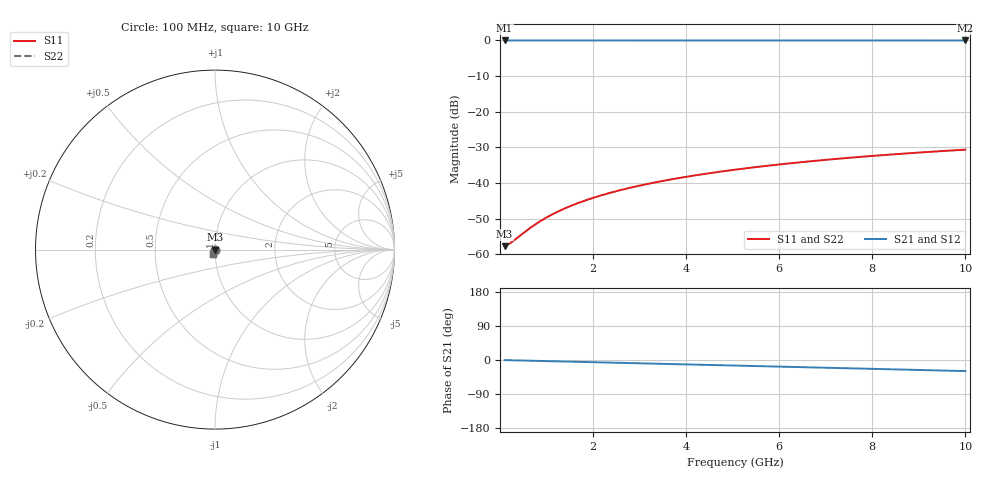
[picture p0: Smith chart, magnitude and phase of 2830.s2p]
# Hz S RI R 50.00
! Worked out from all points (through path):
!   100 points, 100 MHz to 10 GHz, reference 50 ohm
!   highest |S21| = -0.01 dB at 100 MHz (marker M1); lowest = 0.0 dB at 10 GHz (marker M2)
!   group delay of S21, straight-line fit = 8.13 ps
!   lowest |S11| = -57.7 dB at 100 MHz (marker M3), VSWR 1.00, Z = 50.1 - j0.0309 ohm
!   |S11| at or under -10 dB: start of sweep to end of sweep
!   |S22| runs from -57.7 to -30.6 dB; largest |S21 - S12| = 0
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1e8  0.00126 -0.000308  0.9987 -0.00505  0.9987 -0.00505  0.00126 -0.000308
2e8  0.00126 -0.000616  0.9987 -0.0101  0.9987 -0.0101  0.00126 -0.000616
3e8  0.00126 -0.000923  0.9986 -0.0151  0.9986 -0.0151  0.00126 -0.000923
5e8  0.00124 -0.00154  0.9984 -0.0252  0.9984 -0.0252  0.00124 -0.00154
7e8  0.0012 -0.00216  0.9981 -0.0353  0.9981 -0.0353  0.0012 -0.00216
8e8  0.00118 -0.00246  0.9979 -0.0404  0.9979 -0.0404  0.00118 -0.00246
1e9  0.00113 -0.00308  0.9974 -0.0505  0.9974 -0.0505  0.00113 -0.00308
1.2e9  0.00106 -0.00369  0.9968 -0.0606  0.9968 -0.0606  0.00106 -0.00369
1.4e9  0.000979 -0.00431  0.9961 -0.0707  0.9961 -0.0707  0.000979 -0.00431
1.6e9  0.000885 -0.00492  0.9954 -0.0808  0.9954 -0.0808  0.000885 -0.00492
1.8e9  0.000779 -0.00554  0.9945 -0.0908  0.9945 -0.0908  0.000779 -0.00554
2.1e9  0.000596 -0.00645  0.993 -0.1059  0.993 -0.1059  0.000596 -0.00645
2.5e9  0.000308 -0.00767  0.9906 -0.1261  0.9906 -0.1261  0.000308 -0.00767
2.9e9  -3.05e-05 -0.00888  0.9878 -0.1461  0.9878 -0.1461  -3.05e-05 -0.00888
3.4e9  -0.000523 -0.0104  0.9837 -0.1712  0.9837 -0.1712  -0.000523 -0.0104
4.2e9  -0.00147 -0.0127  0.9759 -0.2111  0.9759 -0.2111  -0.00147 -0.0127
5.1e9  -0.00276 -0.0153  0.9651 -0.2556  0.9651 -0.2556  -0.00276 -0.0153
5.9e9  -0.0041 -0.0174  0.9538 -0.2948  0.9538 -0.2948  -0.0041 -0.0174
6.7e9  -0.00561 -0.0194  0.9408 -0.3336  0.9408 -0.3336  -0.00561 -0.0194
7.5e9  -0.00727 -0.0213  0.9262 -0.372  0.9262 -0.372  -0.00727 -0.0213
8.4e9  -0.00932 -0.0233  0.9079 -0.4144  0.9079 -0.4144  -0.00932 -0.0233
1e10  -0.0133 -0.0261  0.8704 -0.4879  0.8704 -0.4879  -0.0133 -0.0261
